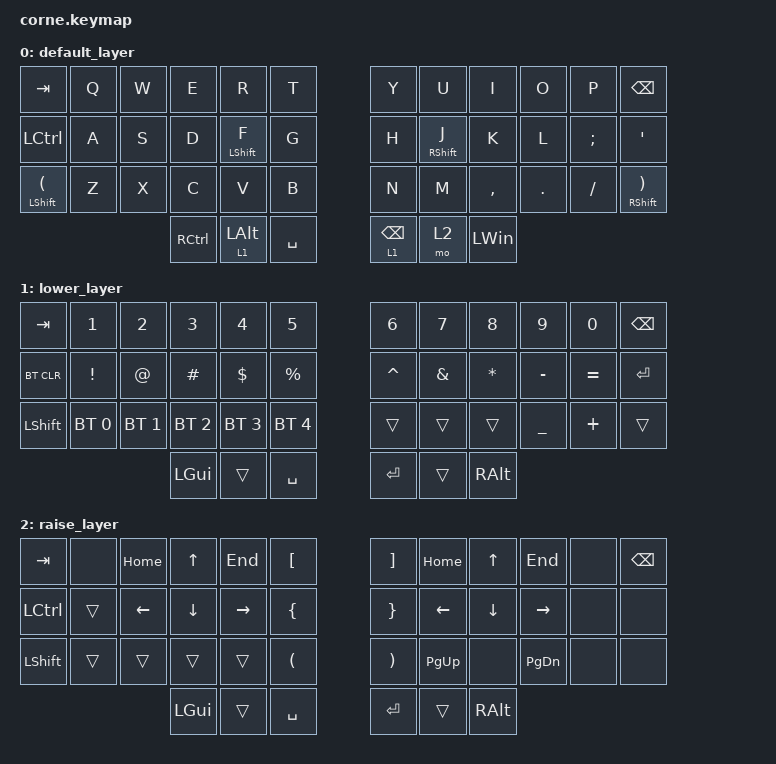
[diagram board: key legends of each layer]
/*
 * Copyright (c) 2020 The ZMK Contributors
 *
 * SPDX-License-Identifier: MIT
 */

#include <behaviors.dtsi>
#include <dt-bindings/zmk/bt.h>
#include <dt-bindings/zmk/keys.h>

/ {
    keymap {
        compatible = "zmk,keymap";

        default_layer {
            // -----------------------------------------------------------------------------------------
            // |  TAB |  Q  |  W  |  E  |  R  |  T  |   |  Y  |  U   |  I  |  O  |  P  | BKSP |
            // | CTRL |  A  |  S  |  D  |  F  |  G  |   |  H  |  J   |  K  |  L  |  ;  |  '   |
            // | SHFT |  Z  |  X  |  C  |  V  |  B  |   |  N  |  M   |  ,  |  .  |  /  | ESC  |
            //                    | GUI | LWR | SPC |   | ENT | RSE  | ALT |

            bindings = <
&kp TAB                          &kp Q  &kp W  &kp E      &kp R         &kp T        &kp Y            &kp U              &kp I         &kp O    &kp P     &kp BSPC
&kp LCTRL                        &kp A  &kp S  &kp D      &mt LSHIFT F  &kp G        &kp H            &mt RIGHT_SHIFT J  &kp K         &kp L    &kp SEMI  &kp SQT
&mt LEFT_SHIFT LEFT_PARENTHESIS  &kp Z  &kp X  &kp C      &kp V         &kp B        &kp N            &kp M              &kp COMMA     &kp DOT  &kp FSLH  &mt RIGHT_SHIFT RIGHT_PARENTHESIS
                                               &kp RCTRL  &lt 1 LALT    &kp SPACE    &lt 1 BACKSPACE  &mo 2              &kp LEFT_WIN
            >;
        };

        lower_layer {
            // -----------------------------------------------------------------------------------------
            // |  TAB |  1  |  2  |  3  |  4  |  5  |   |  6  |  7  |  8  |  9  |  0  | BKSP |
            // | BTCLR| BT1 | BT2 | BT3 | BT4 | BT5 |   | LFT | DWN |  UP | RGT |     |      |
            // | SHFT |     |     |     |     |     |   |     |     |     |     |     |      |
            //                    | GUI |     | SPC |   | ENT |     | ALT |

            bindings = <
&kp TAB     &kp N1        &kp N2        &kp N3        &kp N4        &kp N5          &kp N6     &kp N7    &kp N8    &kp N9     &kp N0     &kp BSPC
&bt BT_CLR  &kp EXCL      &kp AT        &kp HASH      &kp DOLLAR    &kp PERCENT     &kp CARET  &kp AMPS  &kp STAR  &kp MINUS  &kp EQUAL  &kp ENTER
&kp LSHFT   &bt BT_SEL 0  &bt BT_SEL 1  &bt BT_SEL 2  &bt BT_SEL 3  &bt BT_SEL 4    &trans     &trans    &trans    &kp UNDER  &kp PLUS   &trans
                                        &kp LGUI      &trans        &kp SPACE       &kp RET    &trans    &kp RALT
            >;
        };

        raise_layer {
            // -----------------------------------------------------------------------------------------
            // |  TAB |  !  |  @  |  #  |  $  |  %  |   |  ^  |  &  |  *  |  (  |  )  | BKSP |
            // | CTRL |     |     |     |     |     |   |  -  |  =  |  [  |  ]  |  \  |  `   |
            // | SHFT |     |     |     |     |     |   |  _  |  +  |  {  |  }  | "|" |  ~   |
            //                    | GUI |     | SPC |   | ENT |     | ALT |

            bindings = <
&kp TAB    &none   &kp HOME  &kp UP    &kp END    &kp LEFT_BRACKET        &kp RIGHT_BRACKET      &kp HOME   &kp UP    &kp END        &none  &kp BSPC
&kp LCTRL  &trans  &kp LEFT  &kp DOWN  &kp RIGHT  &kp LEFT_BRACE          &kp RIGHT_BRACE        &kp LEFT   &kp DOWN  &kp RIGHT      &none  &none
&kp LSHFT  &trans  &trans    &trans    &trans     &kp LEFT_PARENTHESIS    &kp RIGHT_PARENTHESIS  &kp PG_UP  &none     &kp PAGE_DOWN  &none  &none
                             &kp LGUI  &trans     &kp SPACE               &kp RET                &trans     &kp RALT
            >;
        };
    };
};
